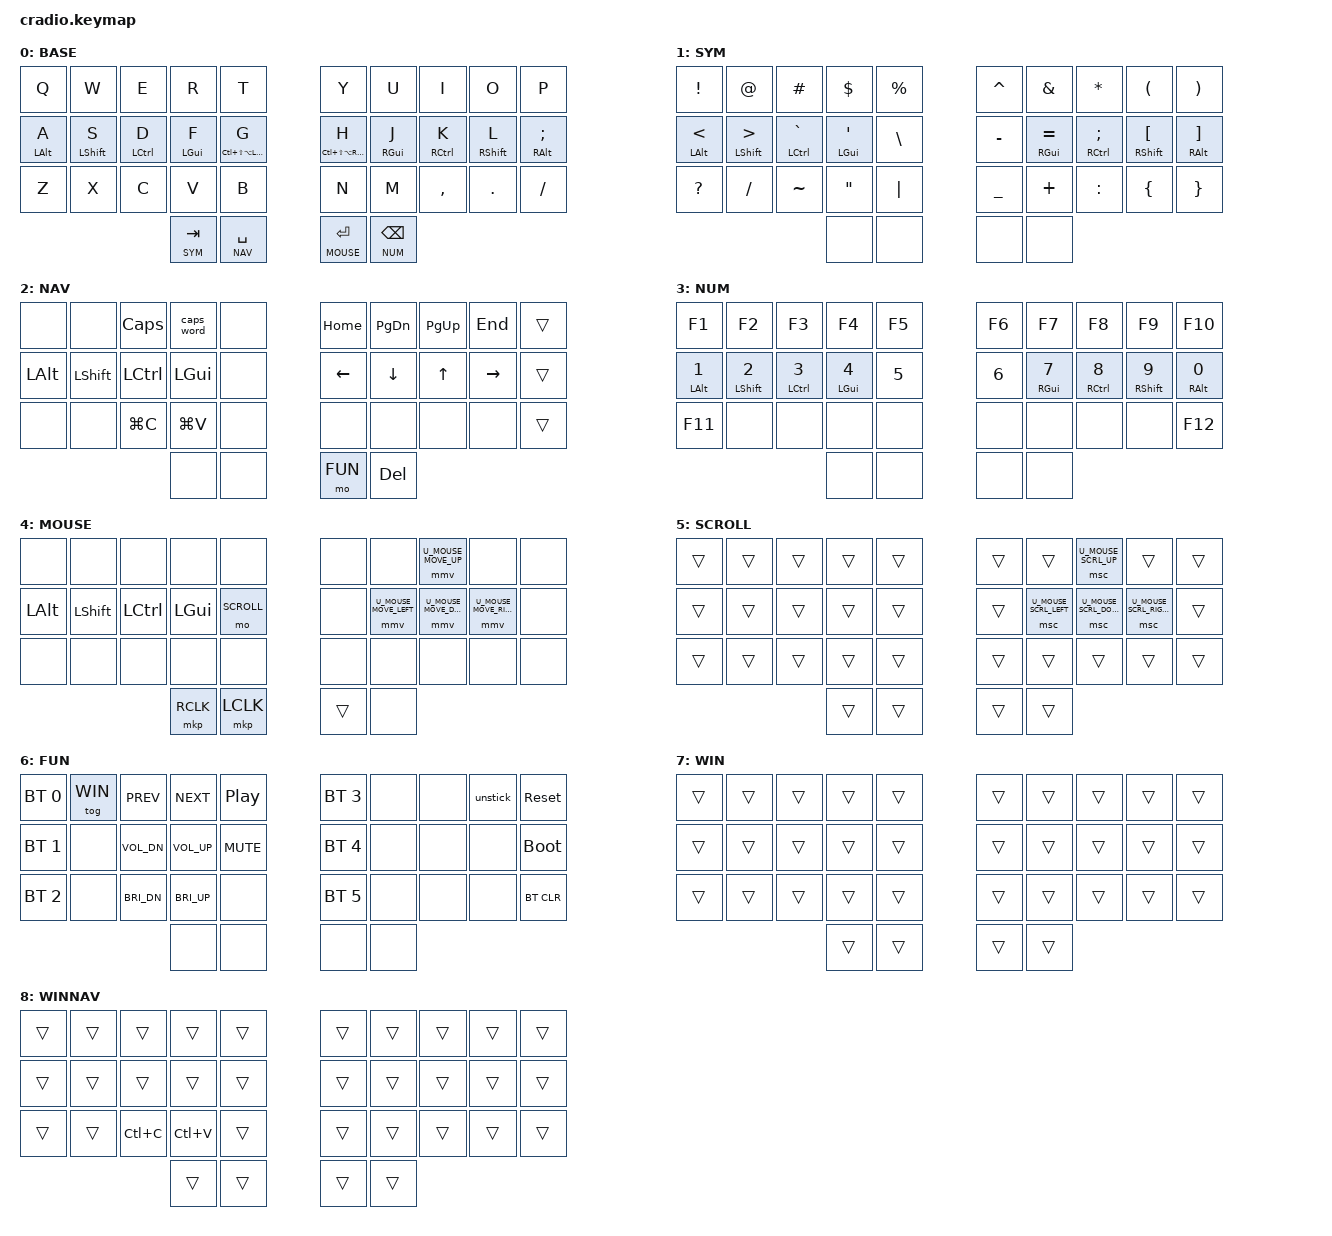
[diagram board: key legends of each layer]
#include <behaviors.dtsi>
#include <dt-bindings/zmk/bt.h>
#include <dt-bindings/zmk/keys.h>
#include <dt-bindings/zmk/mouse.h>

#define BASE   0
#define SYM    1
#define NAV    2
#define NUM    3
#define MOUSE  4
#define SCROLL 5
#define FUN    6
#define WIN    7  /* toggle flag: Windows/Linux mode (all transparent) */
#define WINNAV 8  /* conditional: NAV + WIN → Ctrl-based copy/paste */

#define U_MOUSE_MOVE_UP    0x0000FA24 /* MOVE_Y(-1500) */
#define U_MOUSE_MOVE_DOWN  0x000005DC /* MOVE_Y(1500)  */
#define U_MOUSE_MOVE_LEFT  0xFA240000 /* MOVE_X(-1500) */
#define U_MOUSE_MOVE_RIGHT 0x05DC0000 /* MOVE_X(1500)  */
#define U_MOUSE_SCRL_UP    0x00000016 /* SCRL_Y(22)    */
#define U_MOUSE_SCRL_DOWN  0x0000FFEA /* SCRL_Y(-22)   */
#define U_MOUSE_SCRL_LEFT  0xFFEA0000 /* SCRL_X(-22)   */
#define U_MOUSE_SCRL_RIGHT 0x00160000 /* SCRL_X(22)    */

&sk { ignore-modifiers; };
&mmv { acceleration-exponent = <1>; time-to-max-speed-ms = <300>; delay-ms = <0>; };
&msc { acceleration-exponent = <1>; time-to-max-speed-ms = <150>; delay-ms = <0>; };

/ {
    behaviors {
        hml: homerow_mods_left {
            compatible = "zmk,behavior-hold-tap";
            #binding-cells = <2>;
            flavor = "balanced";
            tapping-term-ms = <220>;
            quick-tap-ms = <150>;
            require-prior-idle-ms = <200>;
            bindings = <&kp>, <&kp>;
            hold-trigger-key-positions = <5 6 7 8 9 15 16 17 18 19 25 26 27 28 29 30 31 32 33>;
            hold-trigger-on-release;
        };

        hml_shift: homerow_shift_left {
            compatible = "zmk,behavior-hold-tap";
            #binding-cells = <2>;
            flavor = "balanced";
            tapping-term-ms = <220>;
            quick-tap-ms = <150>;
            require-prior-idle-ms = <125>;
            bindings = <&kp>, <&kp>;
            hold-trigger-key-positions = <5 6 7 8 9 15 16 17 18 19 25 26 27 28 29 30 31 32 33>;
            hold-trigger-on-release;
        };

        hmr: homerow_mods_right {
            compatible = "zmk,behavior-hold-tap";
            #binding-cells = <2>;
            flavor = "balanced";
            tapping-term-ms = <220>;
            quick-tap-ms = <150>;
            require-prior-idle-ms = <200>;
            bindings = <&kp>, <&kp>;
            hold-trigger-key-positions = <0 1 2 3 4 10 11 12 13 14 20 21 22 23 24 30 31 32 33>;
            hold-trigger-on-release;
        };

        hmr_shift: homerow_shift_right {
            compatible = "zmk,behavior-hold-tap";
            #binding-cells = <2>;
            flavor = "balanced";
            tapping-term-ms = <220>;
            quick-tap-ms = <150>;
            require-prior-idle-ms = <125>;
            bindings = <&kp>, <&kp>;
            hold-trigger-key-positions = <0 1 2 3 4 10 11 12 13 14 20 21 22 23 24 30 31 32 33>;
            hold-trigger-on-release;
        };

        hyp: hyper_mods {
            compatible = "zmk,behavior-hold-tap";
            #binding-cells = <2>;
            flavor = "balanced";
            tapping-term-ms = <220>;
            quick-tap-ms = <150>;
            require-prior-idle-ms = <200>;
            bindings = <&kp>, <&kp>;
            hold-trigger-key-positions = <0 1 2 3 4 5 6 7 8 9 10 11 12 13 15 16 17 18 19 20 21 22 23 24 25 26 27 28 29 30 31 32 33>;
            hold-trigger-on-release;
        };

        lt_repeat: layer_tap_repeat {
            compatible = "zmk,behavior-hold-tap";
            #binding-cells = <2>;
            flavor = "balanced";
            tapping-term-ms = <200>;
            quick-tap-ms = <200>;
            bindings = <&mo>, <&kp>;
        };
    };

    macros {
        unstick: unstick {
            compatible = "zmk,behavior-macro";
            #binding-cells = <0>;
            bindings =
                <&kp LSHIFT &kp RSHIFT
                 &kp LCTRL  &kp RCTRL
                 &kp LALT   &kp RALT
                 &kp LGUI   &kp RGUI>;
        };
    };

    conditional_layers {
        compatible = "zmk,conditional-layers";

        win_nav {
            if-layers = <NAV WIN>;
            then-layer = <WINNAV>;
        };
    };

    combos {
        compatible = "zmk,combos";

        combo_esc {
            bindings = <&kp ESC>;
            key-positions = <17 18>;
            layers = <BASE>;
            timeout-ms = <50>;
        };

        combo_esc_sd {
            bindings = <&kp ESC>;
            key-positions = <11 12>;
            layers = <BASE MOUSE>;
            timeout-ms = <50>;
        };
    };

    keymap {
        compatible = "zmk,keymap";

        BASE {
            bindings = <
                &kp Q       &kp W       &kp E            &kp R       &kp T                          &kp Y                          &kp U       &kp I            &kp O       &kp P
                &hml LALT A &hml_shift LSHIFT S &hml LCTRL D &hml LGUI F &hyp LC(LS(LA(LGUI))) G    &hyp LC(LS(LA(RGUI))) H        &hmr RGUI J &hmr RCTRL K &hmr_shift RSHIFT L &hmr RALT SEMI
                &kp Z       &kp X       &kp C            &kp V       &kp B                          &kp N                          &kp M       &kp COMMA        &kp DOT     &kp FSLH
                                                          &lt_repeat SYM TAB &lt_repeat NAV SPACE    &lt_repeat MOUSE RET           &lt_repeat NUM BSPC
            >;
        };

        SYM {
            bindings = <
                &kp EXCL      &kp AT           &kp HASH           &kp DLLR      &kp PRCNT    &kp CARET &kp AMPS        &kp ASTRK          &kp LPAR        &kp RPAR
                &hml LALT LT  &hml_shift LSHIFT GT    &hml LCTRL GRAVE &hml LGUI SQT &kp BSLH &kp MINUS &hmr RGUI EQUAL &hmr RCTRL SEMI  &hmr_shift RSHIFT LBKT &hmr RALT RBKT
                &kp QMARK     &kp FSLH         &kp TILDE          &kp DQT       &kp PIPE     &kp UNDER &kp PLUS        &kp COLON          &kp LBRC        &kp RBRC
                                                                   &none         &none        &none     &none
            >;
        };

        NAV {
            bindings = <
                &none    &none     &kp CAPS  &caps_word    &none     &kp HOME &kp PG_DN &kp PG_UP &kp END   &trans
                &kp LALT &kp LSHIFT &kp LCTRL &kp LGUI    &none     &kp LEFT &kp DOWN  &kp UP    &kp RIGHT &trans
                &none    &none     &kp LG(C) &kp LG(V)     &none     &none    &none     &none     &none     &trans
                                              &none        &none     &mo FUN  &kp DEL
            >;
        };

        NUM {
            bindings = <
                &kp F1       &kp F2        &kp F3               &kp F4       &kp F5     &kp F6 &kp F7       &kp F8               &kp F9        &kp F10
                &hml LALT N1 &hml_shift LSHIFT N2 &hml LCTRL N3 &hml LGUI N4 &kp N5     &kp N6 &hmr RGUI N7 &hmr RCTRL N8 &hmr_shift RSHIFT N9 &hmr RALT N0
                &kp F11      &none         &none                &none        &none      &none  &none        &none                &none         &kp F12
                                                                &none        &none      &none  &none
            >;
        };

        MOUSE {
            bindings = <
                &none    &none     &none      &none    &none        &none &none                  &mmv U_MOUSE_MOVE_UP   &none                   &none
                &kp LALT &kp LSHIFT &kp LCTRL &kp LGUI &mo SCROLL  &none &mmv U_MOUSE_MOVE_LEFT &mmv U_MOUSE_MOVE_DOWN &mmv U_MOUSE_MOVE_RIGHT &none
                &none    &none     &none      &none    &none        &none &none                  &none                  &none                   &none
                                               &mkp RCLK &mkp LCLK &trans &none
            >;
        };

        SCROLL {
            bindings = <
                &trans &trans &trans &trans &trans    &trans &trans                  &msc U_MOUSE_SCRL_UP   &trans                   &trans
                &trans &trans &trans &trans &trans    &trans &msc U_MOUSE_SCRL_LEFT &msc U_MOUSE_SCRL_DOWN &msc U_MOUSE_SCRL_RIGHT &trans
                &trans &trans &trans &trans &trans    &trans &trans                  &trans                  &trans                   &trans
                                     &trans &trans    &trans &trans
            >;
        };

        FUN {
            bindings = <
                &bt BT_SEL 0 &tog WIN &kp C_PREV &kp C_NEXT &kp C_PP     &bt BT_SEL 3 &none &none &unstick &sys_reset
                &bt BT_SEL 1 &none &kp C_VOL_DN &kp C_VOL_UP &kp C_MUTE   &bt BT_SEL 4 &none &none &none    &bootloader
                &bt BT_SEL 2 &none &kp C_BRI_DN &kp C_BRI_UP &none        &bt BT_SEL 5 &none &none &none    &bt BT_CLR
                                                &none        &none        &none        &none
            >;
        };

        WIN {
            bindings = <
                &trans &trans &trans &trans &trans    &trans &trans &trans &trans &trans
                &trans &trans &trans &trans &trans    &trans &trans &trans &trans &trans
                &trans &trans &trans &trans &trans    &trans &trans &trans &trans &trans
                                     &trans &trans    &trans &trans
            >;
        };

        WINNAV {
            bindings = <
                &trans &trans &trans     &trans     &trans    &trans &trans &trans &trans &trans
                &trans &trans &trans     &trans     &trans    &trans &trans &trans &trans &trans
                &trans &trans &kp LC(C)  &kp LC(V)  &trans    &trans &trans &trans &trans &trans
                                         &trans     &trans    &trans &trans
            >;
        };
    };
};
